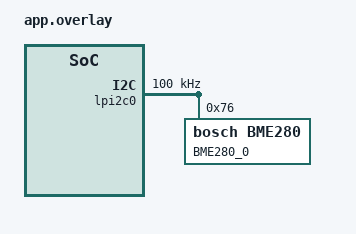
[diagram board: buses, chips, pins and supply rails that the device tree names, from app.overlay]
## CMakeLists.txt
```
cmake_minimum_required(VERSION 3.20.0)
find_package(Zephyr REQUIRED HINTS $ENV{ZEPHYR_BASE})
project(lab11_zephyr)
target_sources(app PRIVATE
    src/main.c
    src/sensor_thread.c
    src/logger_thread.c
    src/monitor_thread.c
)
```

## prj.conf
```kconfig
CONFIG_THREAD_STACK_INFO=y
CONFIG_HEAP_MEM_POOL_SIZE=16384
CONFIG_SERIAL=y
CONFIG_PRINTK=y
CONFIG_LOG=y
CONFIG_LOG_DEFAULT_LEVEL=3
CONFIG_GPIO=y
CONFIG_I2C=y
CONFIG_SENSOR=y
CONFIG_EVENTS=y
CONFIG_QUEUE=y
```

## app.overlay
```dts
/*
 * app.overlay -- Device tree overlay for FRDM-MCXN236
 * Lab 11 — Zephyr RTOS: Sensor + Logger + Monitor Pipeline
 *
 * Adds a simulated BME280 sensor on the FRDM-MCXN236's I2C0 bus (LPI2C0).
 * The BME280 node allows the Zephyr sensor subsystem to exercise the full
 * driver stack; for Part A the driver returns simulated values.
 *
 * Hardware connection (if using a real BME280 breakout):
 *   SDA -> J2 pin 18 (LPI2C0_SDA / P1_16)
 *   SCL -> J2 pin 20 (LPI2C0_SCL / P1_17)
 *   VDD -> 3V3
 *   GND -> GND
 *   SDO -> GND  (I2C address 0x76)
 */

/ {
    aliases {
        /* Alias used by sensor_thread.c to find the BME280 node */
        bme280-sensor = &bme280_0;
    };
};

&lpi2c0 {
    status = "okay";
    clock-frequency = <I2C_BITRATE_STANDARD>;

    bme280_0: bme280@76 {
        compatible = "bosch,bme280";
        reg = <0x76>;
        label = "BME280_0";
        status = "okay";
    };
};
```

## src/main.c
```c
/*
 * main.c
 * ─────────────────────────────────────────────────────────────────────────────
 * Lab 11 — Zephyr RTOS: Sensor + Logger + Monitor Pipeline
 *
 * This is the Zephyr equivalent of the Lab 03 FreeRTOS pipeline.
 *
 * FreeRTOS → Zephyr API mapping used in this lab:
 *   xTaskCreate()              → k_thread_create()
 *   vTaskDelay(pdMS_TO_TICKS)  → k_sleep(K_MSEC())
 *   xQueueCreate / xQueueSend  → K_MSGQ_DEFINE / k_msgq_put
 *   xQueueReceive              → k_msgq_get
 *   vTaskStartScheduler()      → (implicit — Zephyr starts automatically)
 *   PRINTF()                   → LOG_INF() or printk()
 *   configTOTAL_HEAP_SIZE      → CONFIG_HEAP_MEM_POOL_SIZE in prj.conf
 *   uxTaskGetStackHighWaterMark → k_thread_stack_space_get()
 *
 * Build: west build -b frdm_mcxn236 .
 * Flash: west flash
 * ─────────────────────────────────────────────────────────────────────────────
 */

#include <zephyr/kernel.h>
#include <zephyr/logging/log.h>
#include "sensor_thread.h"
#include "logger_thread.h"
#include "monitor_thread.h"

LOG_MODULE_REGISTER(main, LOG_LEVEL_INF);

/* ── Thread stack areas ─────────────────────────────────────────────────── */
#define SENSOR_STACK_SIZE   1024
#define LOGGER_STACK_SIZE   1024
#define MONITOR_STACK_SIZE  1024

K_THREAD_STACK_DEFINE(sensor_stack,  SENSOR_STACK_SIZE);
K_THREAD_STACK_DEFINE(logger_stack,  LOGGER_STACK_SIZE);
K_THREAD_STACK_DEFINE(monitor_stack, MONITOR_STACK_SIZE);

/* ── Thread control blocks ──────────────────────────────────────────────── */
static struct k_thread sensor_tcb;
static struct k_thread logger_tcb;
static struct k_thread monitor_tcb;

/* ════════════════════════════════════════════════════════════════════════════ */
int main(void)
{
    LOG_INF("\r\n=== RTOS Lab 11: Zephyr Sensor Pipeline (FRDM-MCXN236) ===");

    /*
     * Create sensor thread (priority 5 — higher number = lower Zephyr priority;
     * Zephyr uses 0 = highest, unlike FreeRTOS which uses higher number =
     * higher priority).
     *
     * Zephyr cooperative threads have negative priorities; preemptive threads
     * have priorities 0..CONFIG_NUM_PREEMPT_PRIORITIES-1.
     */
    g_sensor_tid = k_thread_create(
        &sensor_tcb,
        sensor_stack,  K_THREAD_STACK_SIZEOF(sensor_stack),
        sensor_thread_fn,
        NULL, NULL, NULL,
        5,             /* priority */
        0,             /* options  */
        K_NO_WAIT);    /* delay    */
    k_thread_name_set(g_sensor_tid, "sensor");

    /* Create logger thread (lower priority than sensor) */
    g_logger_tid = k_thread_create(
        &logger_tcb,
        logger_stack,  K_THREAD_STACK_SIZEOF(logger_stack),
        logger_thread_fn,
        NULL, NULL, NULL,
        6,
        0,
        K_NO_WAIT);
    k_thread_name_set(g_logger_tid, "logger");

    /* Create monitor thread (lowest priority — background reporting) */
    g_monitor_tid = k_thread_create(
        &monitor_tcb,
        monitor_stack, K_THREAD_STACK_SIZEOF(monitor_stack),
        monitor_thread_fn,
        NULL, NULL, NULL,
        7,
        0,
        K_NO_WAIT);
    k_thread_name_set(g_monitor_tid, "monitor");

    LOG_INF("All threads created. Zephyr scheduler running.");

    /*
     * In Zephyr, main() itself runs as a thread.  Return here allows the
     * kernel to idle; all work happens in the three threads above.
     *
     * Alternatively, use main as an additional control thread by looping.
     */
    return 0;
}
```

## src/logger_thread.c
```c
/*
 * logger_thread.c
 * ─────────────────────────────────────────────────────────────────────────────
 * Lab 11 — Zephyr RTOS: Logger Thread
 *
 * Blocks on g_sensor_queue indefinitely.  For each received SensorReading_t,
 * it formats and logs the values using LOG_INF so they appear on the Zephyr
 * logging backend (UART by default on FRDM-MCXN236).
 *
 * Note: Zephyr's deferred logging runs output in a dedicated thread; printk()
 * is synchronous but has less formatting flexibility.  We use LOG_INF here.
 * ─────────────────────────────────────────────────────────────────────────────
 */

#include <zephyr/kernel.h>
#include <zephyr/logging/log.h>
#include "logger_thread.h"
#include "sensor_thread.h"   /* for SensorReading_t and g_sensor_queue */

LOG_MODULE_REGISTER(logger, LOG_LEVEL_INF);

void logger_thread_fn(void *p1, void *p2, void *p3)
{
    ARG_UNUSED(p1);
    ARG_UNUSED(p2);
    ARG_UNUSED(p3);

    SensorReading_t reading;

    LOG_INF("Logger thread started");

    for (;;) {
        /* Block until a reading is available */
        k_msgq_get(&g_sensor_queue, &reading, K_FOREVER);

        /* Format: seq, timestamp, temperature, humidity, pressure */
        LOG_INF("[LOG] seq=%6u  t=%5u ms  "
                "temp=%3d.%03d C  "
                "hum=%2d.%03d %%  "
                "pres=%6d Pa",
                reading.sequence,
                reading.timestamp_ms,
                reading.temperature_mdegC / 1000,
                (int)(reading.temperature_mdegC % 1000),
                reading.humidity_mpct / 1000,
                (int)(reading.humidity_mpct % 1000),
                reading.pressure_pa);

        /*
         * TODO (Part B): write readings to a ring buffer in shared memory or
         * a Zephyr FIFO for the monitor thread to analyse.
         */
    }
}
```

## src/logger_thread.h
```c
/*
 * logger_thread.h
 * ─────────────────────────────────────────────────────────────────────────────
 * Lab 11 — Zephyr RTOS: Logger Thread
 *
 * Zephyr analogue of Lab 03 vLoggerTask.
 * Consumes SensorReading_t items from g_sensor_queue and logs them to the
 * console using the Zephyr logging subsystem.
 * ─────────────────────────────────────────────────────────────────────────────
 */
#ifndef LOGGER_THREAD_H
#define LOGGER_THREAD_H

#include <zephyr/kernel.h>

/*
 * logger_thread_fn
 *
 * Blocks on g_sensor_queue (K_FOREVER), formats each reading, and logs it.
 */
void logger_thread_fn(void *p1, void *p2, void *p3);

#endif /* LOGGER_THREAD_H */
```

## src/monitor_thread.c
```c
/*
 * monitor_thread.c
 * ─────────────────────────────────────────────────────────────────────────────
 * Lab 11 — Zephyr RTOS: Monitor Thread
 *
 * Every 5 seconds this thread prints:
 *   1. Stack high-water-mark for each application thread.
 *   2. Current message queue depth.
 *   3. System uptime.
 *
 * Zephyr equivalent of FreeRTOS uxTaskGetStackHighWaterMark is
 * k_thread_stack_space_get() (returns bytes free at the stack's deepest point).
 *
 * Note: CONFIG_THREAD_STACK_INFO=y must be set in prj.conf (already done).
 * ─────────────────────────────────────────────────────────────────────────────
 */

#include <zephyr/kernel.h>
#include <zephyr/logging/log.h>
#include "monitor_thread.h"
#include "sensor_thread.h"   /* for g_sensor_queue */

LOG_MODULE_REGISTER(monitor, LOG_LEVEL_INF);

/* Thread IDs — set by main() before the threads start */
k_tid_t g_sensor_tid  = NULL;
k_tid_t g_logger_tid  = NULL;
k_tid_t g_monitor_tid = NULL;

/* Helper: safely get stack space or return -1 if not available */
static int get_stack_unused(k_tid_t tid)
{
#ifdef CONFIG_THREAD_STACK_INFO
    size_t unused = 0;
    int rc = k_thread_stack_space_get(tid, &unused);
    return (rc == 0) ? (int)unused : -1;
#else
    (void)tid;
    return -1;
#endif
}

void monitor_thread_fn(void *p1, void *p2, void *p3)
{
    ARG_UNUSED(p1);
    ARG_UNUSED(p2);
    ARG_UNUSED(p3);

    LOG_INF("Monitor thread started");

    for (;;) {
        k_sleep(K_SECONDS(5));

        uint32_t uptime_s = (uint32_t)(k_uptime_get() / 1000U);

        LOG_INF("=== System Monitor (uptime %u s) ===", uptime_s);

        /* ── Stack usage ───────────────────────────────────────────────── */
        LOG_INF("  Thread stack unused bytes:");
        if (g_sensor_tid != NULL) {
            LOG_INF("    sensor:  %d bytes free", get_stack_unused(g_sensor_tid));
        }
        if (g_logger_tid != NULL) {
            LOG_INF("    logger:  %d bytes free", get_stack_unused(g_logger_tid));
        }
        if (g_monitor_tid != NULL) {
            LOG_INF("    monitor: %d bytes free", get_stack_unused(g_monitor_tid));
        }

        /* ── Message queue depth ───────────────────────────────────────── */
        uint32_t queued = k_msgq_num_used_get(&g_sensor_queue);
        uint32_t max_q  = CONFIG_HEAP_MEM_POOL_SIZE; /* rough proxy */
        LOG_INF("  Sensor queue: %u items pending", queued);
        (void)max_q;

        /* ── Heap ─────────────────────────────────────────────────────── */
        /*
         * TODO (optional): use sys_heap_runtime_stats_get() with
         * CONFIG_SYS_HEAP_RUNTIME_STATS=y to print allocated/free bytes.
         */

        LOG_INF("=====================================");
    }
}
```

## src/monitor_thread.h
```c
/*
 * monitor_thread.h
 * ─────────────────────────────────────────────────────────────────────────────
 * Lab 11 — Zephyr RTOS: Monitor Thread
 *
 * Zephyr analogue of Lab 03 vMonitorTask.
 * Wakes every 5 seconds and prints a summary of:
 *   - Thread stack usage (via k_thread_stack_space_get or CONFIG_THREAD_STACK_INFO)
 *   - Heap statistics (via sys_heap_runtime_stats_get)
 *   - Number of sensor readings logged since last report
 * ─────────────────────────────────────────────────────────────────────────────
 */
#ifndef MONITOR_THREAD_H
#define MONITOR_THREAD_H

#include <zephyr/kernel.h>

/*
 * monitor_thread_fn
 *
 * Wakes every 5 s via k_sleep(K_SECONDS(5)).
 */
void monitor_thread_fn(void *p1, void *p2, void *p3);

/* Thread IDs set by main.c so the monitor can query stack usage */
extern k_tid_t g_sensor_tid;
extern k_tid_t g_logger_tid;
extern k_tid_t g_monitor_tid;

#endif /* MONITOR_THREAD_H */
```

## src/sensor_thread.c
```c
/*
 * sensor_thread.c
 * ─────────────────────────────────────────────────────────────────────────────
 * Lab 11 — Zephyr RTOS: Sensor Thread
 *
 * Reads from a BME280 (or simulated fallback) every 500 ms using
 * k_sleep(K_MSEC(500)).  Readings are pushed to g_sensor_queue for
 * logger_thread_fn to consume.
 *
 * Zephyr sensor API reference:
 *   sensor_sample_fetch()  — trigger a new measurement
 *   sensor_channel_get()   — read a specific channel into sensor_value
 *
 * sensor_value to double:  sensor_value_to_double(&val)
 * ─────────────────────────────────────────────────────────────────────────────
 */

#include <zephyr/kernel.h>
#include <zephyr/device.h>
#include <zephyr/drivers/sensor.h>
#include <zephyr/logging/log.h>
#include "sensor_thread.h"

LOG_MODULE_REGISTER(sensor, LOG_LEVEL_INF);

/* BME280 device node (defined in app.overlay via alias bme280-sensor) */
#define BME280_NODE DT_ALIAS(bme280_sensor)

/* Message queue: holds up to 8 SensorReading_t items, 4-byte aligned */
K_MSGQ_DEFINE(g_sensor_queue, sizeof(SensorReading_t), 8, 4);

/* Simulated sensor state (fallback when hardware is not present) */
static int32_t s_sim_temp = 23500;   /* start at 23.5 °C */
static int32_t s_sim_hum  = 55000;   /* start at 55.0 % RH */
static int32_t s_sim_pres = 101325;  /* start at 1013.25 hPa in Pa */

static void simulate_sensor(SensorReading_t *out)
{
    /* Slowly drift values to make the output interesting */
    s_sim_temp  = (s_sim_temp  + 10)  % 50000;   /* 0..50 °C  */
    s_sim_hum   = (s_sim_hum   + 50)  % 100000;  /* 0..100 %  */
    s_sim_pres  = 100000 + (s_sim_pres % 3000);   /* ~1000 hPa */

    out->temperature_mdegC = s_sim_temp;
    out->humidity_mpct     = s_sim_hum;
    out->pressure_pa       = s_sim_pres;
}

void sensor_thread_fn(void *p1, void *p2, void *p3)
{
    ARG_UNUSED(p1);
    ARG_UNUSED(p2);
    ARG_UNUSED(p3);

    const struct device *bme280 = NULL;

#if DT_NODE_HAS_STATUS(BME280_NODE, okay)
    bme280 = DEVICE_DT_GET(BME280_NODE);
    if (!device_is_ready(bme280)) {
        LOG_WRN("BME280 not ready — using simulated values");
        bme280 = NULL;
    } else {
        LOG_INF("BME280 ready");
    }
#else
    LOG_INF("BME280 node not in device tree — using simulated values");
#endif

    uint32_t sequence = 0U;

    for (;;) {
        SensorReading_t reading = {0};
        reading.timestamp_ms = k_uptime_get_32();
        reading.sequence     = sequence++;

        if (bme280 != NULL) {
            /* ── Real BME280 read ──────────────────────────────────────── */
            int rc = sensor_sample_fetch(bme280);
            if (rc < 0) {
                LOG_ERR("sensor_sample_fetch failed: %d", rc);
            } else {
                struct sensor_value val;

                sensor_channel_get(bme280, SENSOR_CHAN_AMBIENT_TEMP, &val);
                reading.temperature_mdegC = val.val1 * 1000 + val.val2 / 1000;

                sensor_channel_get(bme280, SENSOR_CHAN_HUMIDITY, &val);
                reading.humidity_mpct = val.val1 * 1000 + val.val2 / 1000;

                sensor_channel_get(bme280, SENSOR_CHAN_PRESS, &val);
                /* pressure in kPa from driver; convert to Pa */
                reading.pressure_pa = val.val1 * 1000 + val.val2 / 1000;
            }
        } else {
            /* ── Simulated fallback ────────────────────────────────────── */
            simulate_sensor(&reading);
        }

        /* Push to logger queue; if full, drop the oldest (non-blocking put) */
        if (k_msgq_put(&g_sensor_queue, &reading, K_NO_WAIT) != 0) {
            LOG_WRN("sensor queue full, dropping reading #%u", reading.sequence);
            k_msgq_purge(&g_sensor_queue);
            k_msgq_put(&g_sensor_queue, &reading, K_NO_WAIT);
        }

        LOG_DBG("seq=%u temp=%d.%03d C  hum=%d.%03d %%",
                reading.sequence,
                reading.temperature_mdegC / 1000,
                reading.temperature_mdegC % 1000,
                reading.humidity_mpct / 1000,
                reading.humidity_mpct % 1000);

        k_sleep(K_MSEC(500));
    }
}
```

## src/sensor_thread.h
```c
/*
 * sensor_thread.h
 * ─────────────────────────────────────────────────────────────────────────────
 * Lab 11 — Zephyr RTOS: Sensor Thread
 *
 * Zephyr analogue of Lab 03 vSensor1Task.
 * Reads temperature and humidity from the BME280 every 500 ms and posts
 * readings to the pipeline message queue.
 * ─────────────────────────────────────────────────────────────────────────────
 */
#ifndef SENSOR_THREAD_H
#define SENSOR_THREAD_H

#include <zephyr/kernel.h>

/* Sensor reading passed between threads via the message queue */
typedef struct {
    int32_t temperature_mdegC;  /* millidegrees Celsius (e.g. 23500 = 23.5 °C) */
    int32_t humidity_mpct;      /* milli-percent RH     (e.g. 55000 = 55.0 %)  */
    int32_t pressure_pa;        /* Pascals                                       */
    uint32_t timestamp_ms;      /* k_uptime_get_32() at time of reading          */
    uint32_t sequence;          /* monotonically increasing sample number        */
} SensorReading_t;

/*
 * sensor_thread_fn
 *
 * Zephyr thread entry function.  Passed to K_THREAD_DEFINE or k_thread_create.
 * Period: 500 ms (pdMS_TO_TICKS equivalent: K_MSEC(500)).
 */
void sensor_thread_fn(void *p1, void *p2, void *p3);

/*
 * g_sensor_queue
 *
 * Message queue shared by sensor_thread_fn (producer) and logger_thread_fn
 * (consumer).  Defined in sensor_thread.c; declared here for other modules.
 */
extern struct k_msgq g_sensor_queue;

#endif /* SENSOR_THREAD_H */
```
